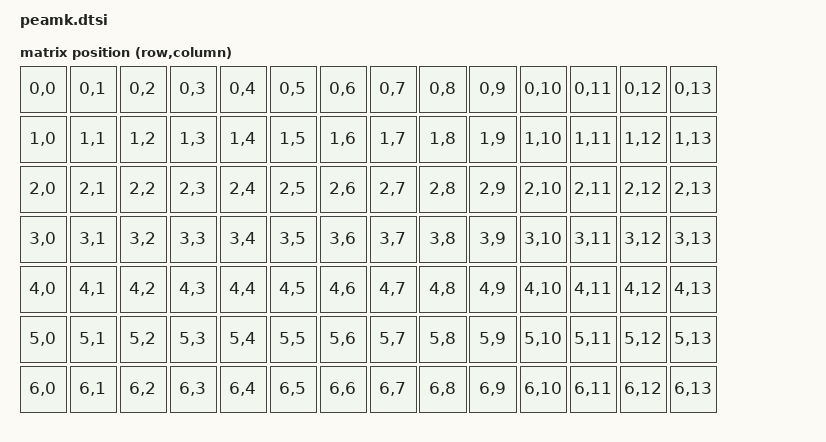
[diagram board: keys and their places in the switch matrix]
/*
 * Copyright (c) 2022 The ZMK Contributors
 *
 * SPDX-License-Identifier: MIT
 */

#include <behaviors.dtsi>
#include <dt-bindings/zmk/matrix_transform.h>
#include <dt-bindings/zmk/keys.h>

// Tell VIK that there is 1 other device on the SPI bus.
// You will need to increase this number if you add another SPI device.
#define VIK_SPI_REG_START 1
// Pulled out to an external variable so VIK can find the SPI bus.
#define VIK_SPI_CS_PREFIX <&gpio0 4 GPIO_ACTIVE_LOW>

&spi1 {
    status = "okay";
    cs-gpios = VIK_SPI_CS_PREFIX;

    shifter: 595@0 {
        compatible = "zmk,gpio-595";
        status = "okay";
        gpio-controller;
        spi-max-frequency = <200000>;
        reg = <0>;
        ngpios = <8>;
        #gpio-cells = <2>;
    };
  };

/ {
    chosen {
        zmk,kscan = &kscan0;
        zmk,matrix_transform = &default_transform;
    };

    default_transform: keymap_transform_0 {
        compatible = "zmk,matrix-transform";
        columns = <14>;
        rows = <7>;
        map = <
            RC(0,0) RC(0,1) RC(0,2) RC(0,3) RC(0,4) RC(0,5) RC(0,6) RC(0,7) RC(0,8) RC(0,9) RC(0,10) RC(0,11) RC(0,12) RC(0,13)
            RC(1,0) RC(1,1) RC(1,2) RC(1,3) RC(1,4) RC(1,5) RC(1,6) RC(1,7) RC(1,8) RC(1,9) RC(1,10) RC(1,11) RC(1,12) RC(1,13)
            RC(2,0) RC(2,1) RC(2,2) RC(2,3) RC(2,4) RC(2,5) RC(2,6) RC(2,7) RC(2,8) RC(2,9) RC(2,10) RC(2,11) RC(2,12) RC(2,13)
            RC(3,0) RC(3,1) RC(3,2) RC(3,3) RC(3,4) RC(3,5) RC(3,6) RC(3,7) RC(3,8) RC(3,9) RC(3,10) RC(3,11) RC(3,12) RC(3,13)
            RC(4,0) RC(4,1) RC(4,2) RC(4,3) RC(4,4) RC(4,5) RC(4,6) RC(4,7) RC(4,8) RC(4,9) RC(4,10) RC(4,11) RC(4,12) RC(4,13)
            RC(5,0) RC(5,1) RC(5,2) RC(5,3) RC(5,4) RC(5,5) RC(5,6) RC(5,7) RC(5,8) RC(5,9) RC(5,10) RC(5,11) RC(5,12) RC(5,13)
            RC(6,0) RC(6,1) RC(6,2) RC(6,3) RC(6,4) RC(6,5) RC(6,6) RC(6,7) RC(6,8) RC(6,9) RC(6,10) RC(6,11) RC(6,12) RC(6,13)
        >;
  };

  /* This has moved to peamk_c2r.dtsi and peamk_r2c.dtsi
  kscan0: kscan_0 {
        compatible = "zmk,kscan-gpio-matrix";

        diode-direction = "col2row";
        row-gpios
            = <&gpio1 15 (GPIO_ACTIVE_HIGH | GPIO_PULL_DOWN)>
            , <&gpio0 9 (GPIO_ACTIVE_HIGH | GPIO_PULL_DOWN)>
            , <&gpio0 10 (GPIO_ACTIVE_HIGH | GPIO_PULL_DOWN)>
            , <&gpio0 22 (GPIO_ACTIVE_HIGH | GPIO_PULL_DOWN)>
            , <&gpio1 13 (GPIO_ACTIVE_HIGH | GPIO_PULL_DOWN)>
            , <&gpio0 24 (GPIO_ACTIVE_HIGH | GPIO_PULL_DOWN)>
            , <&gpio0 20 (GPIO_ACTIVE_HIGH | GPIO_PULL_DOWN)>
            ;

        col-gpios
            = <&shifter 0 GPIO_ACTIVE_HIGH>
            , <&shifter 1 GPIO_ACTIVE_HIGH>
            , <&shifter 2 GPIO_ACTIVE_HIGH>
            , <&shifter 3 GPIO_ACTIVE_HIGH>
            , <&shifter 4 GPIO_ACTIVE_HIGH>
            , <&shifter 5 GPIO_ACTIVE_HIGH>
            , <&shifter 6 GPIO_ACTIVE_HIGH>
            ;
    };*/

    macros {
        mat: mat {
            compatible = "zmk,behavior-macro-two-param";
            #binding-cells = <2>;
            bindings = <&kp EXCL>, <&macro_param_1to1>, <&kp MACRO_PLACEHOLDER>, <&kp COMMA>, <&macro_param_2to1>, <&kp MACRO_PLACEHOLDER>, <&kp SPACE>;
        };
    };

    bootloader_key_left: bootloader_key_left {
        compatible = "zmk,boot-magic-key";
        key-position = <0>;
        jump-to-bootloader;
        status = "disabled";
    };

    bootloader_key_right: bootloader_key_right {
        compatible = "zmk,boot-magic-key";
        key-position = <20>;
        jump-to-bootloader;
        status = "disabled";
    };
};
